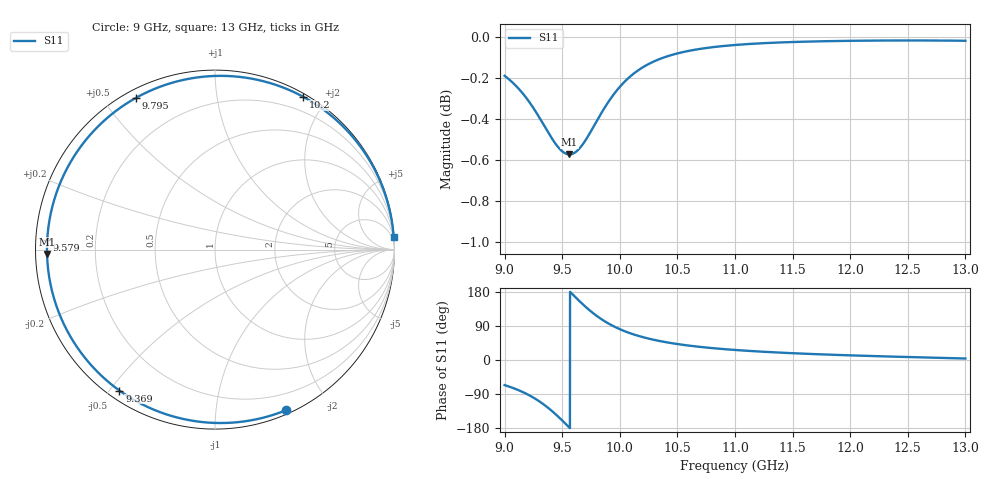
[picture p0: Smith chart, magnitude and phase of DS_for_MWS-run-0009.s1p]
! TOUCHSTONE file generated by CST DESIGN STUDIO
! Date and time: Tue Feb  4 13:10:32 2025
! Project name: C:\Work\MatlabApps\UnitCellOptimizationMatlab\CST\unitcell.cst
! Tree item: Tasks\Sweep1\SPara1\S-Parameters
! Header version: 2024
! Port assignment regex: !\s*Touchstone port\s*([0-9]+)\s*=\s*(CST MWS port|CST DES external port|CST DES block port)\s*(.+)\s* \(\"(.*)\"\)(\s*mode\s*([0-9]+))?.*
! Touchstone port assignment:
! Touchstone port 1 = CST DES external port 1 ("")
# GHz S MA R 50
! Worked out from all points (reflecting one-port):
!   4001 points, 9 GHz to 13 GHz, reference 50 ohm
!   lowest |S11| = -0.6 dB at 9.563 GHz (marker M1), VSWR 30.33, Z = 1.65 - j0.636 ohm
!   phase of S11 starts at -66 deg and turns -290 deg over the sweep
!   S11 on the Smith chart (normalised r, x): 9 GHz: 0.04, -1.53; 9.369 GHz: 0.03, -0.53; 9.579 GHz: 0.03, +0.03; 9.795 GHz: 0.03, +0.61; 10.2 GHz: 0.03, +1.73; 13 GHz: 1, +29
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9  0.9783 -66.3
9.042  0.9761 -70.5
9.109  0.9721 -78.2
9.222  0.9633 -94.5
9.3  0.9559 -108.9
9.369  0.9487 -124.1
9.433  0.9425 -140.5
9.5  0.9378 -159.5
9.532  0.9366 -169.1
9.563  0.9362 -178.5
9.579  0.9363 176.6
9.634  0.9383 160.0
9.694  0.9428 142.8
9.744  0.9478 129.6
9.795  0.9533 117.4
9.839  0.958 108.0
9.887  0.9628 98.9
10  0.9722 81.3
10.097  0.9783 69.9
10.204  0.9831 60.0
10.34  0.9873 50.4
10.5  0.9906 42.1
10.721  0.9933 33.8
11  0.9953 26.5
11.5  0.9969 17.9
12  0.9976 12.2
12.5  0.9978 7.8
13  0.9976 3.9
